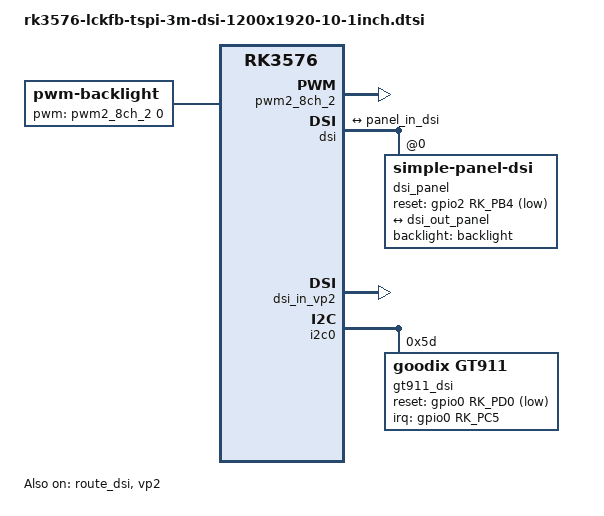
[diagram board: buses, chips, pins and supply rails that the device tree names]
/********************************************************************
 * SPDX-License-Identifier: (GPL-2.0+ OR MIT)
 * 
 * Copyright (c) 2023 Rockchip Electronics Co., Ltd.
 * Copyright (c) 2026 LCKFB <lckfb@sz-jlc.com>
 *********************************************************************
 * Wiki-(Chinese)：https://wiki.lckfb.com/
 * Wiki-(English)：https://wiki.lckfb.com/en/
 *********************************************************************/

/*-----------------------------------------------------------
 * 背光控制节点
 * backlight: PWM背光控制，支持255级亮度
 * compatible: 采用pwm-backlight驱动
 * pwms: PWM控制器和通道配置
 * brightness-levels: 亮度分级表
 * default-brightness-level: 默认亮度
 *-----------------------------------------------------------*/
/ {
	backlight: backlight {
		compatible = "pwm-backlight";
		pwms = <&pwm2_8ch_2 0 25000 0>;
		brightness-levels = <
			  0  20  20  21  21  22  22  23
			 23  24  24  25  25  26  26  27
			 27  28  28  29  29  30  30  31
			 31  32  32  33  33  34  34  35
			 35  36  36  37  37  38  38  39
			 40  41  42  43  44  45  46  47
			 48  49  50  51  52  53  54  55
			 56  57  58  59  60  61  62  63
			 64  65  66  67  68  69  70  71
			 72  73  74  75  76  77  78  79
			 80  81  82  83  84  85  86  87
			 88  89  90  91  92  93  94  95
			 96  97  98  99 100 101 102 103
			104 105 106 107 108 109 110 111
			112 113 114 115 116 117 118 119
			120 121 122 123 124 125 126 127
			128 129 130 131 132 133 134 135
			136 137 138 139 140 141 142 143
			144 145 146 147 148 149 150 151
			152 153 154 155 156 157 158 159
			160 161 162 163 164 165 166 167
			168 169 170 171 172 173 174 175
			176 177 178 179 180 181 182 183
			184 185 186 187 188 189 190 191
			192 193 194 195 196 197 198 199
			200 201 202 203 204 205 206 207
			208 209 210 211 212 213 214 215
			216 217 218 219 220 221 222 223
			224 225 226 227 228 229 230 231
			232 233 234 235 236 237 238 239
			240 241 242 243 244 245 246 247
			248 249 250 251 252 253 254 255
		>;
		default-brightness-level = <200>;
	};
};


/*-----------------------------------------------------------
 * PWM控制器节点
 * pwm2_8ch_2: 多通道PWM，背光控制
 * status: 使能
 * pinctrl-0: 绑定PWM输出管脚
 *-----------------------------------------------------------*/
&pwm2_8ch_2 {
	status = "okay";
	pinctrl-0 = <&pwm2m3_ch2>;
};

/*-----------------------------------------------------------
 * MIPI DSI显示接口主节点
 * dsi: 主MIPI DSI硬件节点
 * status: 使能
 * ports: DSI与显示panel间互连
 *-----------------------------------------------------------*/
&dsi {
	status = "okay";
	rockchip,lane-rate = <1000>;
	dsi_panel: panel@0 {
		status = "okay";
		compatible = "simple-panel-dsi";
		reg = <0>;
		backlight = <&backlight>;
        // power-supply = <&mipi_dsi_power>;
		reset-gpios = <&gpio2 RK_PB4 GPIO_ACTIVE_LOW>;

		reset-delay-ms = <100>;
		enable-delay-ms = <120>;
		prepare-delay-ms = <20>;
		unprepare-delay-ms = <20>;
		disable-delay-ms = <100>;

		// width-mm = <74>;
		// height-mm = <133>;

		dsi,flags = <(MIPI_DSI_MODE_VIDEO | MIPI_DSI_MODE_VIDEO_BURST |
			      MIPI_DSI_MODE_LPM | MIPI_DSI_MODE_NO_EOT_PACKET)>;
		dsi,format = <MIPI_DSI_FMT_RGB888>;
		dsi,lanes  = <4>;

		panel-init-sequence = [
			15 00 02 b0 
			01 15 00 02 
			c3 4f 15 00 
			02 c4 40 15 
			00 02 c5 40 
			15 00 02 c6 
			40 15 00 02 
			c7 40 15 00 
			02 c8 4d 15 
			00 02 c9 52 
			15 00 02 ca 
			51 15 00 02 
			cd 5d 15 00 
			02 ce 5b 15 
			00 02 cf 4b 
			15 00 02 d0 
			49 15 00 02 
			d1 47 15 00 
			02 d2 45 15 
			00 02 d3 41 
			15 00 02 d7 
			50 15 00 02 
			d8 40 15 00 
			02 d9 40 15 
			00 02 da 40 
			15 00 02 db 
			40 15 00 02 
			dc 4e 15 00 
			02 dd 52 15 
			00 02 de 51 
			15 00 02 e1 
			5e 15 00 02 
			e2 5c 15 00 
			02 e3 4c 15 
			00 02 e4 4a 
			15 00 02 e5 
			48 15 00 02 
			e6 46 15 00 
			02 e7 42 15 
			00 02 b0 03 
			15 00 02 be 
			03 15 00 02 
			cc 44 15 00 
			02 c8 07 15 
			00 02 c9 05 
			15 00 02 ca 
			42 15 00 02 
			cd 3e 15 00 
			02 cf 60 15 
			00 02 d2 04 
			15 00 02 d3 
			04 15 00 02 
			d4 01 15 00 
			02 d5 00 15 
			00 02 d6 03 
			15 00 02 d7 
			04 15 00 02 
			d9 01 15 00 
			02 db 01 15 
			00 02 e4 f0 
			15 00 02 e5 
			0a 15 00 02 
			b0 00 15 00 
			02 b1 08 15 
			00 02 bd 54 
			15 00 02 c2 
			06 15 00 02 
			c4 0b 15 00 
			02 b0 02 15 
			00 02 c0 00 
			15 00 02 c1 
			0a 15 00 02 
			c2 20 15 00 
			02 c3 24 15 
			00 02 c4 23 
			15 00 02 c5 
			29 15 00 02 
			c6 23 15 00 
			02 c7 1c 15 
			00 02 c8 19 
			15 00 02 c9 
			17 15 00 02 
			ca 17 15 00 
			02 cb 18 15 
			00 02 cc 1a 
			15 00 02 cd 
			1e 15 00 02 
			ce 20 15 00 
			02 cf 23 15 
			00 02 d0 07 
			15 00 02 d1 
			00 15 00 02 
			d2 00 15 00 
			02 d3 0a 15 
			00 02 d4 13 
			15 00 02 d5 
			1c 15 00 02 
			d6 1a 15 00 
			02 d7 13 15 
			00 02 d8 17 
			15 00 02 d9 
			1c 15 00 02 
			da 19 15 00 
			02 db 17 15 
			00 02 dc 17 
			15 00 02 dd 
			18 15 00 02 
			de 1a 15 00 
			02 df 1e 15 
			00 02 e0 20 
			15 00 02 e1 
			23 15 00 02 
			e2 07 05 78 
			01 11 05 14 01 29];


		panel-exit-sequence = [
			05 00 01 28
			05 00 01 10
		];

		disp_timings0: display-timings {
			native-mode = <&dsi_timing0>;
			dsi_timing0: timing0 {
				clock-frequency = <120000000>;
				hactive = <1200>;
				vactive = <1920>;
				hfront-porch = <42>;
				hsync-len = <42>;
				hback-porch = <32>;
				vfront-porch = <35>;
				vsync-len = <4>;
				vback-porch = <30>;
				hsync-active = <0>;
				vsync-active = <0>;
				de-active = <0>;
				pixelclk-active = <0>;
			};
		};

		ports {
			#address-cells = <1>;
			#size-cells = <0>;

			port@0 {
				reg = <0>;
				panel_in_dsi: endpoint {
					remote-endpoint = <&dsi_out_panel>;
				};
			};
		};
	};

	ports {
		#address-cells = <1>;
		#size-cells = <0>;

		port@1 {
			reg = <1>;
			dsi_out_panel: endpoint {
				remote-endpoint = <&panel_in_dsi>;
			};
		};
	};
};

/*-----------------------------------------------------------
 * DSI Display Routing Node
 * route_dsi: Display video channel routing, VP2 output connected to DSI
 *-----------------------------------------------------------*/
&route_dsi {
	status = "okay";
	connect = <&vp2_out_dsi>;
};

/*-----------------------------------------------------------
 * DSI Display Path Configuration Description
 * dsi_in_vp0: Supports up to 4K@120Hz (main channel)
 * dsi_in_vp1: Supports up to 2560x1600@60Hz (secondary channel)
 * dsi_in_vp2: Supports up to 1920x1080@60Hz (third channel)
 * Can select which path to enable according to actual needs to save resources
 * dsi_in_vopl: VOPL Lite video pipeline, special purpose
 *-----------------------------------------------------------*/
&dsi_in_vp0 {
	status = "disabled";
};

&dsi_in_vp1 {
	status = "disabled";
};

&dsi_in_vp2 {
	status = "okay";
};

&dsi_in_vopl {
	status = "disabled";    // Disable third display path
};

/*-----------------------------------------------------------
 * VP2 Video Path Node
 * status: Enable VP2 as video source for DSI
 *-----------------------------------------------------------*/
&vp2 {
	status = "okay";
};

/*-----------------------------------------------------------
 * 触摸屏GT911节点
 * gt911_dsi: 挂载于I2C2的触摸芯片GT911
 * status: 使能
 * compatible: 设备兼容类型
 * reg: I2C地址
 * interrupt-parent: 中断控制器
 * interrupts: 中断管脚配置
 * reset-gpios: 复位管脚
 * irq-gpios: 中断信号管脚
 * max-x/max-y: 触摸分辨率
 * tp-size: 触摸IC封装尺寸参数
 *-----------------------------------------------------------*/
&i2c0 {
    pinctrl-names = "default";
	pinctrl-0 = <&i2c0m1_xfer>;
	status = "okay";

	gt911_dsi: gt911@5d {
		status = "okay";
		compatible = "goodix,gt911";
		reg = <0x5d>;
		interrupt-parent = <&gpio0>;
		interrupts = <RK_PC5 IRQ_TYPE_LEVEL_LOW>;
		reset-gpios = <&gpio0 RK_PD0 GPIO_ACTIVE_LOW>;
		irq-gpios = <&gpio0 RK_PC5 GPIO_ACTIVE_HIGH>;
		max-x = <1280>;
		max-y = <800>;
        tp-size = <89>;
	};
};

